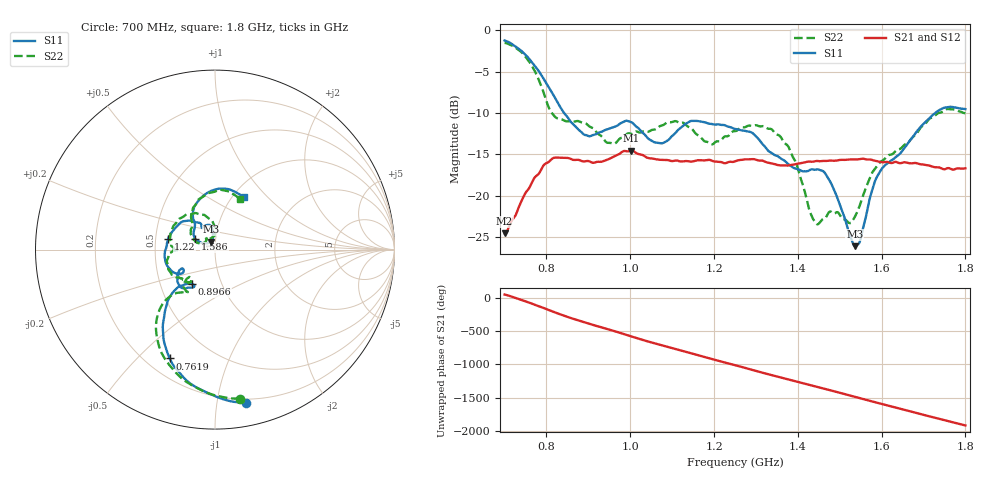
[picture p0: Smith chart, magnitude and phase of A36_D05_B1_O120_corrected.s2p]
! Created with skrf 1.9.0 (http://scikit-rf.org).
# Hz S RI R 50.0
!freq ReS11 ImS11 ReS21 ImS21 ReS12 ImS12 ReS22 ImS22
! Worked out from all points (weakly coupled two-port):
!   1601 points, 700 MHz to 1.8 GHz, reference 50 ohm
!   highest |S21| = -14.55 dB at 1.002 GHz (marker M1); lowest = -24.6 dB at 700 MHz (marker M2)
!   lowest |S11| = -26.1 dB at 1.536 GHz (marker M3), VSWR 1.10, Z = 47.7 + j4.26 ohm
!   |S11| at or under -10 dB: 842.1 MHz to 1.728 GHz (885.6 MHz wide, 68.9 % of centre)
!   |S22| runs from -23.5 to -1.5 dB; largest |S21 - S12| = 0.0034
!   S11 on the Smith chart (normalised r, x): 700 MHz: 0.17, -1.21; 761.9 MHz: 0.29, -0.63; 896.6 MHz: 0.72, -0.30; 1.22 GHz: 0.58, +0.07; 1.586 GHz: 0.80, +0.10; 1.8 GHz: 1.13, +0.74
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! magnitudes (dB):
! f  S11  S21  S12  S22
! 700 MHz  -1.2  -24.6  -24.3  -1.5
! 761.9 MHz  -3.7  -18.8  -18.7  -4.0
! 817.6 MHz  -7.9  -15.4  -15.5  -10.3
! 883.6 MHz  -12.3  -15.8  -15.7  -11.1
! 896.6 MHz  -12.7  -15.8  -15.9  -11.4
! 948.2 MHz  -11.9  -15.6  -15.6  -13.6
! 1.002 GHz  -11.1  -14.5  -14.7  -12.5
! 1.067 GHz  -13.6  -15.6  -15.6  -11.7
! 1.144 GHz  -11.0  -15.9  -15.9  -11.8
! 1.192 GHz  -11.3  -15.7  -15.7  -13.7
! 1.22 GHz  -11.4  -16.0  -16.0  -13.1
! 1.25 GHz  -11.9  -15.8  -15.8  -12.2
! 1.358 GHz  -15.5  -16.3  -16.3  -12.8
! 1.396 GHz  -16.7  -16.2  -16.2  -16.0
! 1.434 GHz  -16.8  -15.9  -15.9  -22.5
! 1.475 GHz  -18.1  -15.8  -15.8  -22.0
! 1.536 GHz  -26.1  -15.6  -15.6  -22.6
! 1.549 GHz  -25.4  -15.6  -15.6  -21.0
! 1.586 GHz  -18.0  -15.8  -15.8  -16.6
! 1.617 GHz  -16.0  -16.0  -15.9  -15.1
! 1.733 GHz  -9.8  -16.6  -16.6  -10.1
! 1.8 GHz  -9.5  -16.7  -16.7  -10.0
